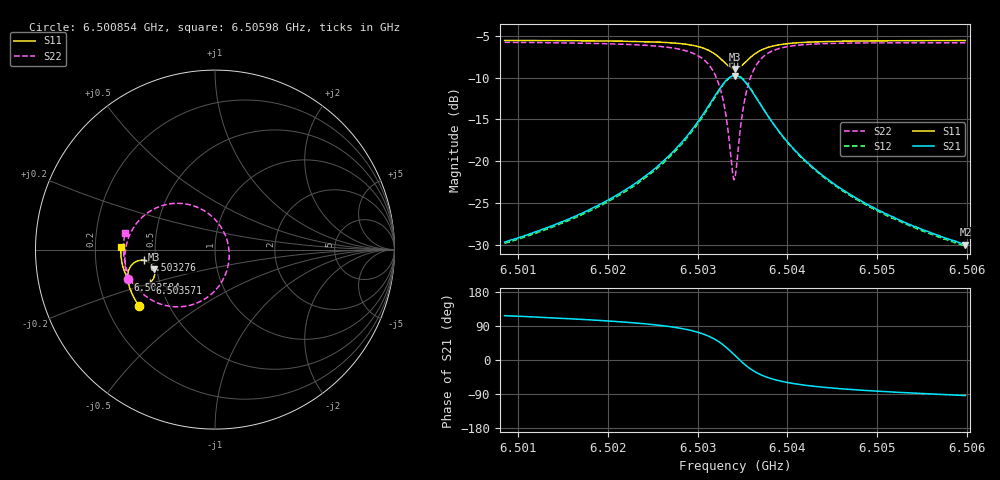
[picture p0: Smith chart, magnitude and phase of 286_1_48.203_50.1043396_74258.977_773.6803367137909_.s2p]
#  HZ  S  RI  R  50.00
! Rohde & Schwarz Vector Network Analyzer
! Rohde-Schwarz,ZNB20-2Port,1311601062101988,3.16
! Created: UTC 3/20/2024, 11:48:52 AM
! freq[Hz]  re:S11  im:S11  re:S21  im:S21  re:S12  im:S12  re:S22  im:S22
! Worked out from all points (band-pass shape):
!   401 points, 6.500854 GHz to 6.50598 GHz, reference 50 ohm
!   highest |S21| = -9.76 dB at 6.503417 GHz (marker M1); lowest = -29.9 dB at 6.50598 GHz (marker M2)
!   |S21| within 3 dB of the highest: 6.50316 GHz to 6.503672 GHz (512.3 kHz wide, 0.00788 % of centre)
!   lowest |S11| = -9.0 dB at 6.503417 GHz (marker M3), VSWR 2.10, Z = 24.2 - j6.05 ohm
!   |S11| at or under -10 dB: nowhere
!   |S22| runs from -22.2 to -5.8 dB; largest |S21 - S12| = 0.011
!   S11 on the Smith chart (normalised r, x): 6.500854 GHz: 0.34, -0.30; 6.502584 GHz: 0.33, -0.15; 6.503276 GHz: 0.43, -0.06; 6.503571 GHz: 0.44, -0.20; 6.50598 GHz: 0.31, +0.01
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6.5008538e9  -0.4218 -0.3152  -0.0149 0.0293  -0.0133 0.0293  -0.4871 -0.1629
6.5017124e9  -0.4593 -0.2525  -0.0144 0.0466  -0.0121 0.0464  -0.5019 -0.0731
6.5021866e9  -0.4764 -0.2112  -0.0116 0.0659  -0.00864 0.0648  -0.4996 -0.00702
6.5025711e9  -0.4859 -0.1694  -0.00279 0.0949  0.000689 0.0927  -0.481 0.0683
6.5025839e9  -0.486 -0.1678  -0.00229 0.0961  0.00126 0.0939  -0.4799 0.0712
6.5028274e9  -0.4854 -0.1325  0.0159 0.1293  0.0197 0.1255  -0.4413 0.1407
6.5030069e9  -0.4738 -0.0993  0.0505 0.1654  0.0537 0.16  -0.3731 0.2067
6.5031735e9  -0.4391 -0.0664  0.1282 0.1984  0.1293 0.1921  -0.2308 0.2572
6.503276e9  -0.3966 -0.0596  0.2133 0.1893  0.2134 0.1841  -0.0827 0.2288
6.5033273e9  -0.3711 -0.0683  0.2613 0.1613  0.2621 0.1568  -0.00284 0.1713
6.5033913e9  -0.3447 -0.0946  0.3085 0.098  0.3109 0.0931  0.0682 0.0493
6.503417e9  -0.3385 -0.1091  0.3184 0.066  0.3216 0.0602  0.0785 -0.0101
6.5034298e9  -0.3366 -0.1168  0.321 0.0494  0.3243 0.0431  0.0791 -0.0406
6.5035067e9  -0.3428 -0.1613  0.3038 -0.0442  0.3057 -0.0541  0.021 -0.2042
6.5035708e9  -0.3638 -0.1868  0.2612 -0.0976  0.2601 -0.1087  -0.0747 -0.2855
6.5036733e9  -0.4029 -0.2015  0.1874 -0.133  0.1822 -0.1423  -0.2229 -0.3187
6.5038399e9  -0.4486 -0.1917  0.107 -0.1301  0.1001 -0.1349  -0.3679 -0.2722
6.5040193e9  -0.4756 -0.1703  0.063 -0.1103  0.057 -0.1125  -0.4389 -0.2081
6.5042756e9  -0.4963 -0.1403  0.0334 -0.0863  0.0288 -0.0869  -0.4817 -0.1364
6.5046345e9  -0.5111 -0.1032  0.0156 -0.0648  0.0122 -0.0644  -0.5033 -0.0662
6.5051343e9  -0.5211 -0.0571  0.00496 -0.0472  0.0027 -0.0466  -0.5099 0.00379
6.5059802e9  -0.5259 0.0142  -0.00208 -0.0317  -0.00338 -0.0309  -0.5016 0.0922
